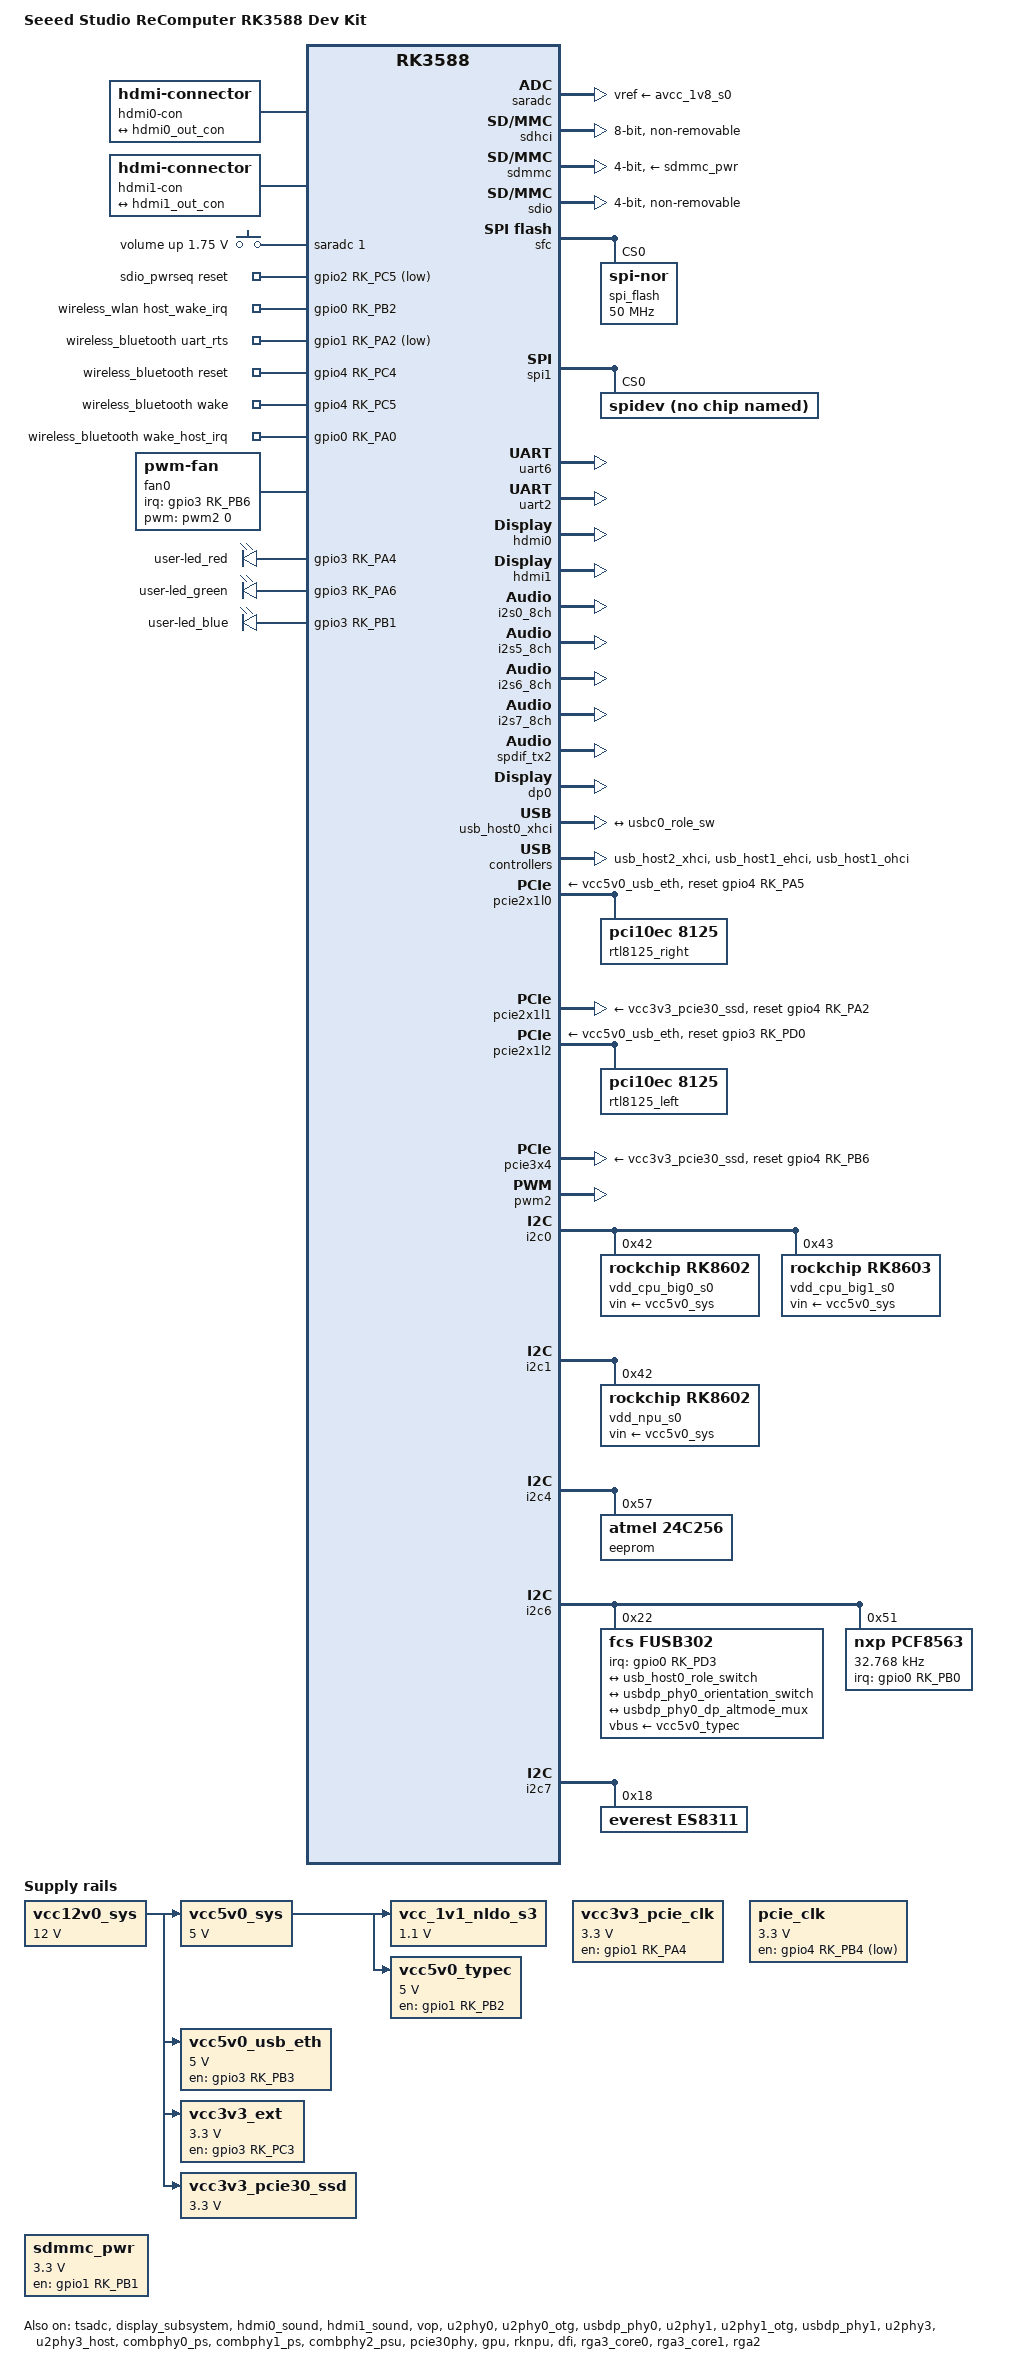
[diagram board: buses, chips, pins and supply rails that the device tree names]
// SPDX-License-Identifier: (GPL-2.0+ OR MIT)
/*
 * Copyright (c) 2024 Radxa Computer (Shenzhen) Co., Ltd.
 *
 * Ported from the 6.1 BSP device tree for the Seeed Studio ReComputer RK3588
 * Dev Kit onto the 6.18 upstream-style rk3588.dtsi.
 *
 * BSP-only blocks without matching 6.18 nodes are intentionally omitted:
 * - camera media graph endpoints (rkcif, rkisp, csi2_dphy, etc.)
 * - BSP-only display route{} and VOP plane-routing properties
 * - rockchip_suspend, hdmirx_ctrler, hdmiin-sound
 * - dmc (dfi is kept)
 * - av1d, jpege*, vdpu, rkvdec*, rkvenc*, vepu and their MMUs
 *   (these live in rk3588s-ip.dtsi which is not part of the base tree)
 */
/dts-v1/;

#include <dt-bindings/gpio/gpio.h>
#include <dt-bindings/input/input.h>
#include <dt-bindings/leds/common.h>
#include <dt-bindings/pinctrl/rockchip.h>
#include <dt-bindings/pwm/pwm.h>
#include <dt-bindings/soc/rockchip,vop2.h>
#include <dt-bindings/usb/pd.h>
#include "rk3588.dtsi"
#include "rk3588-rk806-single.dtsi"
#include "rk3588s-ip.dtsi"
#include "recomputer-rk3588-devkit-cam.dtsi"

/ {
	model = "Seeed Studio ReComputer RK3588 Dev Kit";
	compatible = "seeed,recomputer-rk3588-devkit", "rockchip,rk3588";

	aliases {
		ethernet0 = &rtl8125_left;
		ethernet1 = &rtl8125_right;
		mmc0 = &sdhci;
		mmc1 = &sdmmc;
		mmc2 = &sdio;
	};

	chosen {
		stdout-path = "serial2:1500000n8";
	};

	hdmi0-con {
		compatible = "hdmi-connector";
		type = "a";

		port {
			hdmi0_con_in: endpoint {
				remote-endpoint = <&hdmi0_out_con>;
			};
		};
	};

	hdmi1-con {
		compatible = "hdmi-connector";
		type = "a";

		port {
			hdmi1_con_in: endpoint {
				remote-endpoint = <&hdmi1_out_con>;
			};
		};
	};

	adc-keys {
		compatible = "adc-keys";
		io-channels = <&saradc 1>;
		io-channel-names = "buttons";
		keyup-threshold-microvolt = <1800000>;
		poll-interval = <100>;
		status = "okay";

		volumeup-key {
			linux,code = <KEY_VOLUMEUP>;
			label = "volume up";
			press-threshold-microvolt = <1750000>;
		};
	};

	vcc12v0_sys: vcc12v-dcin {
		compatible = "regulator-fixed";
		regulator-name = "vcc12v0_sys";
		regulator-always-on;
		regulator-boot-on;
		regulator-min-microvolt = <12000000>;
		regulator-max-microvolt = <12000000>;
	};

	vcc5v0_sys: vcc5v0-sys {
		compatible = "regulator-fixed";
		regulator-name = "vcc5v0_sys";
		regulator-always-on;
		regulator-boot-on;
		regulator-min-microvolt = <5000000>;
		regulator-max-microvolt = <5000000>;
		vin-supply = <&vcc12v0_sys>;
	};

	vcc_1v1_nldo_s3: vcc-1v1-nldo-s3 {
		compatible = "regulator-fixed";
		regulator-name = "vcc_1v1_nldo_s3";
		regulator-always-on;
		regulator-boot-on;
		regulator-min-microvolt = <1100000>;
		regulator-max-microvolt = <1100000>;
		vin-supply = <&vcc5v0_sys>;
	};

	vcc5v0_usb_eth: vcc5v0-usb-eth {
		compatible = "regulator-fixed";
		regulator-name = "vcc5v0_usb_eth";
		regulator-min-microvolt = <5000000>;
		regulator-max-microvolt = <5000000>;
		enable-active-high;
		gpio = <&gpio3 RK_PB3 GPIO_ACTIVE_HIGH>;
		pinctrl-names = "default";
		pinctrl-0 = <&vcc5v0_usb_eth_en>;
		vin-supply = <&vcc12v0_sys>;
	};

	vcc5v0_typec: vcc5v0-typec {
		compatible = "regulator-fixed";
		regulator-name = "vcc5v0_typec";
		regulator-min-microvolt = <5000000>;
		regulator-max-microvolt = <5000000>;
		enable-active-high;
		gpio = <&gpio1 RK_PB2 GPIO_ACTIVE_HIGH>;
		pinctrl-names = "default";
		pinctrl-0 = <&typec5v_pwren>;
		vin-supply = <&vcc5v0_sys>;
	};

	vcc3v3_ext: vcc3v3-ext {
		compatible = "regulator-fixed";
		regulator-name = "vcc3v3_ext";
		regulator-min-microvolt = <3300000>;
		regulator-max-microvolt = <3300000>;
		enable-active-high;
		gpio = <&gpio3 RK_PC3 GPIO_ACTIVE_HIGH>;
		pinctrl-names = "default";
		pinctrl-0 = <&usb_sys_en>;
		startup-delay-us = <5000>;
		vin-supply = <&vcc12v0_sys>;
	};

	vcc3v3_pcie30_ssd: vcc3v3-pcie30-ssd {
		compatible = "regulator-fixed";
		regulator-name = "vcc3v3_pcie30_ssd";
		regulator-boot-on;
		regulator-always-on;
		regulator-min-microvolt = <3300000>;
		regulator-max-microvolt = <3300000>;
		vin-supply = <&vcc12v0_sys>;
	};

	vcc3v3_pcie_clk: vcc3v3-pcie-clk {
		compatible = "regulator-fixed";
		regulator-name = "vcc3v3_pcie_clk";
		regulator-boot-on;
		regulator-always-on;
		enable-active-high;
		gpio = <&gpio1 RK_PA4 GPIO_ACTIVE_HIGH>;
		pinctrl-names = "default";
		pinctrl-0 = <&pcie30_clk_en>;
		regulator-min-microvolt = <3300000>;
		regulator-max-microvolt = <3300000>;
	};

	pcie_clk: pcie-clk {
		compatible = "regulator-fixed";
		regulator-name = "pcie_clk";
		regulator-boot-on;
		regulator-always-on;
		enable-active-low;
		gpio = <&gpio4 RK_PB4 GPIO_ACTIVE_HIGH>;
		pinctrl-names = "default";
		pinctrl-0 = <&pcie30_clk_reg>;
		regulator-min-microvolt = <3300000>;
		regulator-max-microvolt = <3300000>;
	};

	sdmmc_pwr: sdmmc-pwr {
		compatible = "regulator-fixed";
		regulator-name = "sdmmc_pwr";
		regulator-min-microvolt = <3300000>;
		regulator-max-microvolt = <3300000>;
		enable-active-high;
		gpios = <&gpio1 RK_PB1 GPIO_ACTIVE_HIGH>;
		pinctrl-names = "default";
		pinctrl-0 = <&sdmmc_pwr_en>;
	};

	sdio_pwrseq: sdio-pwrseq {
		compatible = "mmc-pwrseq-simple";
		pinctrl-names = "default";
		pinctrl-0 = <&wifi_poweren_gpio>;
		post-power-on-delay-ms = <200>;
		reset-gpios = <&gpio2 RK_PC5 GPIO_ACTIVE_LOW>;
	};

	wireless_wlan: wireless-wlan {
		compatible = "wlan-platdata";
		wifi_chip_type = "fcs960k";
		clocks = <&pcf8563>;
		clock-names = "ext_clock";
		pinctrl-names = "default";
		pinctrl-0 = <&wifi_host_wake_irq>;
		WIFI,host_wake_irq = <&gpio0 RK_PB2 GPIO_ACTIVE_HIGH>;
	};

	wireless_bluetooth: wireless-bluetooth {
		compatible = "bluetooth-platdata";
		uart_rts_gpios = <&gpio1 RK_PA2 GPIO_ACTIVE_LOW>;
		pinctrl-names = "default", "rts_gpio";
		pinctrl-0 = <&uart6m1_rtsn>;
		BT,reset_gpio = <&gpio4 RK_PC4 GPIO_ACTIVE_HIGH>;
		BT,wake_gpio = <&gpio4 RK_PC5 GPIO_ACTIVE_HIGH>;
		BT,wake_host_irq = <&gpio0 RK_PA0 GPIO_ACTIVE_HIGH>;
		status = "okay";
	};

	fan0: pwm-fan {
		compatible = "pwm-fan";
		#cooling-cells = <2>;
		pwms = <&pwm2 0 50000 0>;
		cooling-levels = <0 45 60 75 100 130 170 210 255>;
		interrupt-parent = <&gpio3>;
		interrupts = <RK_PB6 IRQ_TYPE_EDGE_BOTH>;
		pulses-per-revolution = <2>;
		pinctrl-names = "default";
		pinctrl-0 = <&fan_tach>;
		status = "okay";
	};

	reserved-memory {
		#address-cells = <2>;
		#size-cells = <2>;
		ranges;

		cma {
			compatible = "shared-dma-pool";
			reusable;
			reg = <0x0 (256 * 0x100000) 0x0 (256 * 0x100000)>;
			linux,cma-default;
		};
	};

	gpio-leds {
		compatible = "gpio-leds";
		pinctrl-names = "default";

		user-led_red {
			gpios = <&gpio3 RK_PA4 GPIO_ACTIVE_HIGH>;
			default-state = "off";
		};

		user-led_green {
			gpios = <&gpio3 RK_PA6 GPIO_ACTIVE_HIGH>;
			default-state = "off";
		};

		user-led_blue {
			gpios = <&gpio3 RK_PB1 GPIO_ACTIVE_HIGH>;
			linux,default-trigger = "heartbeat";
			default-state = "on";
		};
	};
};

&saradc {
	status = "okay";
	vref-supply = <&avcc_1v8_s0>;
};

&sdhci {
	pinctrl-0 = <&emmc_rstnout &emmc_bus8 &emmc_clk &emmc_cmd &emmc_data_strobe>;
	pinctrl-names = "default";
	bus-width = <8>;
	no-sdio;
	no-sd;
	non-removable;
	max-frequency = <150000000>;
	mmc-hs200-1_8v;
	status = "okay";
};

&sdmmc {
	max-frequency = <115000000>;
	pinctrl-0 = <&sdmmc_clk &sdmmc_cmd &sdmmc_det &sdmmc_bus4>;
	pinctrl-names = "default";
	no-sdio;
	no-mmc;
	bus-width = <4>;
	cap-mmc-highspeed;
	cap-sd-highspeed;
	disable-wp;
	sd-uhs-sdr104;
	vqmmc-supply = <&vccio_sd_s0>;
	vmmc-supply = <&sdmmc_pwr>;
	status = "okay";
};

&sdio {
	max-frequency = <100000000>;
	supports-sdio;
	bus-width = <4>;
	disable-wp;
	cap-sd-highspeed;
	cap-sdio-irq;
	keep-power-in-suspend;
	mmc-pwrseq = <&sdio_pwrseq>;
	non-removable;
	num-slots = <1>;
	pinctrl-names = "default";
	pinctrl-0 = <&sdiom0_pins>;
	sd-uhs-sdr104;
	status = "okay";
};

&sfc {
	status = "okay";
	max-freq = <50000000>;
	#address-cells = <1>;
	#size-cells = <0>;
	pinctrl-names = "default";
	pinctrl-0 = <&fspim2_pins>;

	spi_flash: flash@0 {
		compatible = "jedec,spi-nor";
		reg = <0x0>;
		spi-max-frequency = <50000000>;
		spi-tx-bus-width = <1>;
		spi-rx-bus-width = <4>;
		status = "okay";
	};
};

&spi1 {
	status = "okay";
	pinctrl-names = "default";
	pinctrl-0 = <&spi1m0_pins &spi1m0_cs0>;

	spidev@0 {
		compatible = "spidev";
		reg = <0>;
		status = "okay";
	};
};

&uart6 {
	pinctrl-names = "default";
	pinctrl-0 = <&uart6m1_xfer &uart6m1_ctsn &uart6m1_rtsn>;
	status = "okay";
};

&uart2 {
	pinctrl-names = "default";
	pinctrl-0 = <&uart2m0_xfer>;
	status = "okay";
};

&tsadc {
	status = "okay";
};

/*
 * Fan thermal control. The BSP used the Rockchip-private "rockchip,temp-trips"
 * property (self-contained fan regulation) plus &soc_thermal cooling-maps.
 * Mainline 6.18's pwm-fan driver ignores "rockchip,temp-trips" and instead
 * initialises the fan to the highest cooling level at probe time, expecting
 * the generic thermal framework to lower it via cooling-maps. Bind fan0 to
 * the package thermal zone (mainline equivalent of BSP soc_thermal) with the
 * same temperature thresholds the BSP used.
 */
&package_thermal {
	polling-delay = <1000>;
	polling-delay-passive = <2000>;

	trips {
		package_active1: trip-active1 {
			temperature = <45000>;
			hysteresis = <5000>;
			type = "active";
		};
		package_active2: trip-active2 {
			temperature = <50000>;
			hysteresis = <5000>;
			type = "active";
		};
		package_active3: trip-active3 {
			temperature = <55000>;
			hysteresis = <5000>;
			type = "active";
		};
		package_active4: trip-active4 {
			temperature = <60000>;
			hysteresis = <5000>;
			type = "active";
		};
		package_active5: trip-active5 {
			temperature = <65000>;
			hysteresis = <5000>;
			type = "active";
		};
		package_active6: trip-active6 {
			temperature = <70000>;
			hysteresis = <5000>;
			type = "active";
		};
		package_active7: trip-active7 {
			temperature = <75000>;
			hysteresis = <5000>;
			type = "active";
		};
		package_active8: trip-active8 {
			temperature = <80000>;
			hysteresis = <1000>;
			type = "active";
		};
	};

	cooling-maps {
		map1 {
			trip = <&package_active1>;
			cooling-device = <&fan0 0 1>;
			contribution = <1024>;
		};
		map2 {
			trip = <&package_active2>;
			cooling-device = <&fan0 1 2>;
			contribution = <1024>;
		};
		map3 {
			trip = <&package_active3>;
			cooling-device = <&fan0 2 3>;
			contribution = <1024>;
		};
		map4 {
			trip = <&package_active4>;
			cooling-device = <&fan0 3 4>;
			contribution = <1024>;
		};
		map5 {
			trip = <&package_active5>;
			cooling-device = <&fan0 4 5>;
			contribution = <1024>;
		};
		map6 {
			trip = <&package_active6>;
			cooling-device = <&fan0 5 6>;
			contribution = <1024>;
		};
		map7 {
			trip = <&package_active7>;
			cooling-device = <&fan0 6 7>;
			contribution = <1024>;
		};
		map8 {
			trip = <&package_active8>;
			cooling-device = <&fan0 7 8>;
			contribution = <1024>;
		};
	};
};

&display_subsystem {
	status = "okay";
};

&hdmi0 {
	status = "okay";
	enable-gpios = <&gpio4 RK_PB1 GPIO_ACTIVE_HIGH>;
	ddc-i2c-scl-high-time-ns = <9625>;
	ddc-i2c-scl-low-time-ns = <10000>;
};

&hdmi0_in {
	hdmi0_in_vp0: endpoint {
		remote-endpoint = <&vp0_out_hdmi0>;
	};
};

&hdmi0_out {
	hdmi0_out_con: endpoint {
		remote-endpoint = <&hdmi0_con_in>;
	};
};

&hdmi0_sound {
	status = "okay";
};

&hdmi1 {
	status = "okay";
	enable-gpios = <&gpio4 RK_PB2 GPIO_ACTIVE_HIGH>;
	ddc-i2c-scl-high-time-ns = <9625>;
	ddc-i2c-scl-low-time-ns = <10000>;
};

&hdmi1_in {
	hdmi1_in_vp1: endpoint {
		remote-endpoint = <&vp1_out_hdmi1>;
	};
};

&hdmi1_out {
	hdmi1_out_con: endpoint {
		remote-endpoint = <&hdmi1_con_in>;
	};
};

&hdmi1_sound {
	status = "okay";
};

&vop {
	status = "okay";
};

&vop_mmu {
	status = "okay";
};

&vp0 {
	vp0_out_hdmi0: endpoint@ROCKCHIP_VOP2_EP_HDMI0 {
		reg = <ROCKCHIP_VOP2_EP_HDMI0>;
		remote-endpoint = <&hdmi0_in_vp0>;
	};
};

&vp1 {
	vp1_out_hdmi1: endpoint@ROCKCHIP_VOP2_EP_HDMI1 {
		reg = <ROCKCHIP_VOP2_EP_HDMI1>;
		remote-endpoint = <&hdmi1_in_vp1>;
	};
};

&vp2 {
	vp2_out_dp0: endpoint@ROCKCHIP_VOP2_EP_DP0 {
		reg = <ROCKCHIP_VOP2_EP_DP0>;
		remote-endpoint = <&dp0_in_vp2>;
	};
};

&i2s0_8ch {
	status = "okay";
	rockchip,playback-channels = <2>;
	rockchip,capture-channels = <2>;
	#sound-dai-cells = <0>;
	pinctrl-names = "default";
	pinctrl-0 = <&i2s0_lrck &i2s0_sclk &i2s0_sdi0 &i2s0_sdo0>;
};

&i2s5_8ch {
	status = "okay";
};

&i2s6_8ch {
	status = "okay";
};

&i2s7_8ch {
	status = "okay";
};

&spdif_tx2 {
	status = "okay";
};

&dp0 {
	status = "okay";
};

&dp0_in {
	dp0_in_vp2: endpoint {
		remote-endpoint = <&vp2_out_dp0>;
	};
};

&u2phy0 {
	status = "okay";
};

&u2phy0_otg {
	rockchip,typec-vbus-det;
	status = "okay";
};

&usbdp_phy0 {
	orientation-switch;
	svid = <0xff01>;
	sbu1-dc-gpios = <&gpio4 RK_PA6 GPIO_ACTIVE_HIGH>;
	sbu2-dc-gpios = <&gpio4 RK_PA7 GPIO_ACTIVE_HIGH>;
	status = "okay";

	port {
		#address-cells = <1>;
		#size-cells = <0>;

		usbdp_phy0_orientation_switch: endpoint@0 {
			reg = <0>;
			remote-endpoint = <&usbc0_orien_sw>;
		};

		usbdp_phy0_dp_altmode_mux: endpoint@1 {
			reg = <1>;
			remote-endpoint = <&dp_altmode_mux>;
		};
	};
};

&usb_host0_xhci {
	status = "okay";
	usb-role-switch;

	port {
		usb_host0_role_switch: endpoint {
			remote-endpoint = <&usbc0_role_sw>;
		};
	};
};

&u2phy1 {
	status = "okay";
};

&u2phy1_otg {
	phy-supply = <&vcc3v3_ext>;
	status = "okay";
};

&usbdp_phy1 {
	rockchip,dp-lane-mux = <2 3>;
	status = "okay";
};

&usb_host2_xhci {
	status = "okay";
};

&u2phy3 {
	status = "okay";
};

&u2phy3_host {
	status = "okay";
};

&usb_host1_ehci {
	status = "okay";
};

&usb_host1_ohci {
	status = "okay";
};

&combphy0_ps {
	status = "okay";
};

&combphy1_ps {
	status = "okay";
};

&combphy2_psu {
	status = "okay";
};

&pcie2x1l0 {
	reset-gpios = <&gpio4 RK_PA5 GPIO_ACTIVE_HIGH>;
	vpcie3v3-supply = <&vcc5v0_usb_eth>;
	status = "okay";

	pcie@0,0 {
		reg = <0x00200000 0 0 0 0>;
		#address-cells = <3>;
		#size-cells = <2>;
		bus-range = <0x20 0x2f>;
		device_type = "pci";
		ranges;

		rtl8125_right: ethernet@0,0 {
			compatible = "pci10ec,8125";
			reg = <0x210000 0 0 0 0>;
			r8125,led0 = <0x022b>;
			r8125,led3 = <0x002b>;
		};
	};
};

&pcie2x1l1 {
	reset-gpios = <&gpio4 RK_PA2 GPIO_ACTIVE_HIGH>;
	vpcie3v3-supply = <&vcc3v3_pcie30_ssd>;
	status = "okay";
};

&pcie2x1l2 {
	reset-gpios = <&gpio3 RK_PD0 GPIO_ACTIVE_HIGH>;
	vpcie3v3-supply = <&vcc5v0_usb_eth>;
	status = "okay";

	pcie@0,0 {
		reg = <0x00400000 0 0 0 0>;
		#address-cells = <3>;
		#size-cells = <2>;
		bus-range = <0x40 0x4f>;
		device_type = "pci";
		ranges;

		rtl8125_left: ethernet@0,0 {
			compatible = "pci10ec,8125";
			reg = <0x410000 0 0 0 0>;
			r8125,led0 = <0x022b>;
			r8125,led3 = <0x002b>;
		};
	};
};

&pcie30phy {
	status = "okay";
};

&pcie3x4 {
	reset-gpios = <&gpio4 RK_PB6 GPIO_ACTIVE_HIGH>;
	vpcie3v3-supply = <&vcc3v3_pcie30_ssd>;
	status = "okay";
};

&pwm2 {
	status = "okay";
	pinctrl-names = "default";
	pinctrl-0 = <&pwm2m2_pins>;
};

&i2c0 {
	status = "okay";
	pinctrl-names = "default";
	pinctrl-0 = <&i2c0m2_xfer>;

	vdd_cpu_big0_s0: vdd_cpu_big0_mem_s0: vdd-cpu-big0-s0@42 {
		compatible = "rockchip,rk8602";
		reg = <0x42>;
		vin-supply = <&vcc5v0_sys>;
		regulator-compatible = "rk860x-reg";
		regulator-name = "vdd_cpu_big0_s0";
		regulator-min-microvolt = <550000>;
		regulator-max-microvolt = <1050000>;
		regulator-ramp-delay = <2300>;
		rockchip,suspend-voltage-selector = <1>;
		regulator-boot-on;
		regulator-always-on;

		regulator-state-mem {
			regulator-off-in-suspend;
		};
	};

	vdd_cpu_big1_s0: vdd_cpu_big1_mem_s0: vdd-cpu-big1-s0@43 {
		compatible = "rockchip,rk8603";
		reg = <0x43>;
		vin-supply = <&vcc5v0_sys>;
		regulator-compatible = "rk860x-reg";
		regulator-name = "vdd_cpu_big1_s0";
		regulator-min-microvolt = <550000>;
		regulator-max-microvolt = <1050000>;
		regulator-ramp-delay = <2300>;
		rockchip,suspend-voltage-selector = <1>;
		regulator-boot-on;
		regulator-always-on;

		regulator-state-mem {
			regulator-off-in-suspend;
		};
	};
};

&i2c1 {
	status = "okay";
	pinctrl-names = "default";
	pinctrl-0 = <&i2c1m2_xfer>;

	vdd_npu_s0: vdd_npu_mem_s0: vdd-npu-s0@42 {
		compatible = "rockchip,rk8602";
		reg = <0x42>;
		vin-supply = <&vcc5v0_sys>;
		regulator-compatible = "rk860x-reg";
		regulator-name = "vdd_npu_s0";
		regulator-min-microvolt = <550000>;
		regulator-max-microvolt = <950000>;
		regulator-ramp-delay = <2300>;
		rockchip,suspend-voltage-selector = <1>;
		regulator-boot-on;
		regulator-always-on;

		regulator-state-mem {
			regulator-off-in-suspend;
		};
	};
};

&i2c4 {
	status = "okay";
	pinctrl-names = "default";
	pinctrl-0 = <&i2c4m1_xfer>;

	eeprom: at24c256@57 {
		compatible = "atmel,24c256";
		reg = <0x57>;
		pagesize = <16>;
		status = "okay";
	};
};

&i2c6 {
	status = "okay";

	fusb302: fusb302@22 {
		compatible = "fcs,fusb302";
		reg = <0x22>;
		interrupt-parent = <&gpio0>;
		interrupts = <RK_PD3 IRQ_TYPE_LEVEL_LOW>;
		pinctrl-names = "default";
		pinctrl-0 = <&usbc0_int>;
		vbus-supply = <&vcc5v0_typec>;
		status = "okay";

		ports {
			#address-cells = <1>;
			#size-cells = <0>;

			port@0 {
				reg = <0>;

				usbc0_role_sw: endpoint@0 {
					reg = <0>;
					remote-endpoint = <&usb_host0_role_switch>;
				};
			};
		};

		connector {
			compatible = "usb-c-connector";
			label = "USB-C";
			data-role = "dual";
			power-role = "dual";
			try-power-role = "sink";
			op-sink-microwatt = <1000000>;
			sink-pdos = <PDO_FIXED(5000, 1000, PDO_FIXED_USB_COMM)>;
			source-pdos = <PDO_FIXED(5000, 3000, PDO_FIXED_USB_COMM)>;

			altmodes {
				#address-cells = <1>;
				#size-cells = <0>;

				altmode@0 {
					reg = <0>;
					svid = <0xff01>;
					vdo = <0xffffffff>;
				};
			};

			ports {
				#address-cells = <1>;
				#size-cells = <0>;

				port@0 {
					reg = <0>;

					usbc0_orien_sw: endpoint {
						remote-endpoint = <&usbdp_phy0_orientation_switch>;
					};
				};

				port@1 {
					reg = <1>;

					dp_altmode_mux: endpoint {
						remote-endpoint = <&usbdp_phy0_dp_altmode_mux>;
					};
				};
			};
		};
	};

	pcf8563: pcf8563@51 {
		compatible = "nxp,pcf8563";
		reg = <0x51>;
		status = "okay";
		interrupt-parent = <&gpio0>;
		interrupts = <RK_PB0 IRQ_TYPE_EDGE_FALLING>;
		pinctrl-names = "default";
		pinctrl-0 = <&pcf8563_int>;
		#clock-cells = <0>;
		clock-frequency = <32768>;
		clock-output-names = "xin32k";
	};
};

&i2c7 {
	status = "okay";

	es8311: audio-codec@18 {
		status = "okay";
		compatible = "everest,es8311";
		reg = <0x18>;
		#sound-dai-cells = <0>;
		adc-pga-gain = <6>;
		adc-volume = <0xbf>;
		dac-volume = <0xbf>;
		aec-mode = "adc left, adc right";
		clocks = <&cru I2S0_8CH_MCLKOUT_TO_IO>;
		clock-names = "mclk";
		assigned-clocks = <&cru I2S0_8CH_MCLKOUT_TO_IO>;
		assigned-clock-rates = <12288000>;
		pinctrl-names = "default";
		pinctrl-0 = <&i2s0_mclk>;
	};
};

&cpu_l0 {
	cpu-supply = <&vdd_cpu_lit_s0>;
	mem-supply = <&vdd_cpu_lit_mem_s0>;
};

&cpu_b0 {
	cpu-supply = <&vdd_cpu_big0_s0>;
	mem-supply = <&vdd_cpu_big0_mem_s0>;
};

&cpu_b2 {
	cpu-supply = <&vdd_cpu_big1_s0>;
	mem-supply = <&vdd_cpu_big1_mem_s0>;
};

&gpu {
	mali-supply = <&vdd_gpu_s0>;
	mem-supply = <&vdd_gpu_mem_s0>;
	status = "okay";
};

&rknpu {
	rknpu-supply = <&vdd_npu_s0>;
	mem-supply = <&vdd_npu_mem_s0>;
	status = "okay";
};

&rknpu_mmu {
	status = "okay";
};

&dfi {
	status = "okay";
};

&rga3_core0 {
	status = "okay";
};

&rga3_0_mmu {
	status = "okay";
};

&rga3_core1 {
	status = "okay";
};

&rga3_1_mmu {
	status = "okay";
};

&rga2 {
	status = "okay";
};

&pinctrl {
	fan {
		fan_tach: fan-tach {
			rockchip,pins = <3 RK_PB6 RK_FUNC_GPIO &pcfg_pull_up>;
		};
	};

	usb {
		vcc5v0_usb_eth_en: vcc5v0-usb-eth-en {
			rockchip,pins = <3 RK_PB3 RK_FUNC_GPIO &pcfg_pull_none>;
		};

		usb_sys_en: usb-sys-en {
			rockchip,pins = <3 RK_PC3 RK_FUNC_GPIO &pcfg_pull_none>;
		};
	};

	pcie30-ssd {
		pcie30_clk_en: pcie30-clk-en {
			rockchip,pins = <1 RK_PA4 RK_FUNC_GPIO &pcfg_pull_none>;
		};

		pcie30_clk_reg: pcie30-clk {
			rockchip,pins = <4 RK_PB4 RK_FUNC_GPIO &pcfg_pull_none>;
		};
	};

	usb-typec {
		usbc0_int: usbc0-int {
			rockchip,pins = <0 RK_PD3 RK_FUNC_GPIO &pcfg_pull_up>;
		};

		typec5v_pwren: typec5v-pwren {
			rockchip,pins = <1 RK_PB2 RK_FUNC_GPIO &pcfg_pull_none>;
		};
	};

	pcf8563 {
		pcf8563_int: rtc-int {
			rockchip,pins = <0 RK_PB0 RK_FUNC_GPIO &pcfg_pull_none>;
		};
	};

	headphone {
		hp_det: hp-det {
			rockchip,pins = <1 RK_PC4 RK_FUNC_GPIO &pcfg_pull_up>;
		};

		hp_con: hp-con {
			rockchip,pins = <4 RK_PA4 RK_FUNC_GPIO &pcfg_pull_up>;
		};
	};

	sdmmc {
		sdmmc_pwr_en: sdmmc-pwr-en {
			rockchip,pins = <1 RK_PB1 RK_FUNC_GPIO &pcfg_pull_none>;
		};
	};

	wifi {
		wifi_host_wake_irq: wifi-host-wake-irq {
			rockchip,pins = <0 RK_PB2 RK_FUNC_GPIO &pcfg_pull_down>;
		};

		wifi_poweren_gpio: wifi-poweren-gpio {
			rockchip,pins = <2 RK_PC5 RK_FUNC_GPIO &pcfg_pull_none>;
		};
	};
};

&gpio0 {
	gpio-line-names =
		/* GPIO0_A0-A3 */
		"", "", "", "",
		/* GPIO0_A4-A7 */
		"", "", "", "",
		/* GPIO0_B0-B3 */
		"", "", "", "",
		/* GPIO0_B4-B7 */
		"", "PIN_8", "PIN_10", "",
		/* GPIO0_C0-C3 */
		"", "", "", "",
		/* GPIO0_C4-C7 */
		"", "", "", "",
		/* GPIO0_D0-D3 */
		"", "", "", "",
		/* GPIO0_D4-D7 */
		"", "", "", "";
};

&gpio1 {
	gpio-line-names =
		/* GPIO1_A0-A3 */
		"", "", "", "",
		/* GPIO1_A4-A7 */
		"", "", "", "",
		/* GPIO1_B0-B3 */
		"", "PIN_21", "PIN_19", "PIN_23",
		/* GPIO1_B4-B7 */
		"PIN_24", "PIN_26", "", "PIN_31",
		/* GPIO1_C0-C3 */
		"", "", "", "",
		/* GPIO1_C4-C7 */
		"", "", "", "",
		/* GPIO1_D0-D3 */
		"", "", "", "",
		/* GPIO1_D4-D7 */
		"", "", "", "PIN_29";
};

&gpio2 {
	gpio-line-names =
		/* GPIO2_A0-A3 */
		"", "", "", "",
		/* GPIO2_A4-A7 */
		"", "", "", "",
		/* GPIO2_B0-B3 */
		"", "", "", "",
		/* GPIO2_B4-B7 */
		"", "", "", "",
		/* GPIO2_C0-C3 */
		"", "", "", "",
		/* GPIO2_C4-C7 */
		"", "", "", "",
		/* GPIO2_D0-D3 */
		"", "", "", "",
		/* GPIO2_D4-D7 */
		"", "", "", "";
};

&gpio3 {
	gpio-line-names =
		/* GPIO3_A0-A3 */
		"", "", "", "",
		/* GPIO3_A4-A7 */
		"PIN_16", "", "", "PIN_33",
		/* GPIO3_B0-B3 */
		"", "PIN_36", "PIN_38", "PIN_40",
		/* GPIO3_B4-B7 */
		"", "PIN_12", "PIN_35", "PIN_13",
		/* GPIO3_C0-C3 */
		"PIN_15", "PIN_11", "PIN_32", "PIN_7",
		/* GPIO3_C4-C7 */
		"", "", "", "",
		/* GPIO3_D0-D3 */
		"", "", "", "",
		/* GPIO3_D4-D7 */
		"", "", "", "";
};

&gpio4 {
	gpio-line-names =
		/* GPIO4_A0-A3 */
		"", "", "", "",
		/* GPIO4_A4-A7 */
		"", "", "", "",
		/* GPIO4_B0-B3 */
		"", "", "PIN_5", "PIN_3",
		/* GPIO4_B4-B7 */
		"", "", "", "",
		/* GPIO4_C0-C3 */
		"", "", "", "",
		/* GPIO4_C4-C7 */
		"PIN_18", "PIN_28", "PIN_27", "",
		/* GPIO4_D0-D3 */
		"", "", "", "",
		/* GPIO4_D4-D7 */
		"", "", "", "";
};
